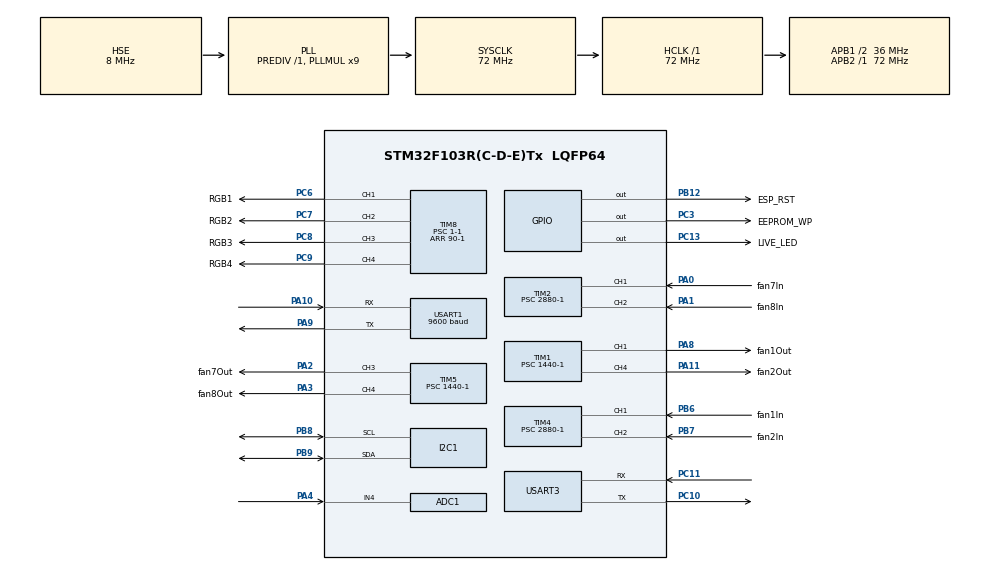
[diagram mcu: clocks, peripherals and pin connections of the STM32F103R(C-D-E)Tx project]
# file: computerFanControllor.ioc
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ADC1.Channel-1\#ChannelRegularConversion=ADC_CHANNEL_4
ADC1.ContinuousConvMode=ENABLE
ADC1.NbrOfConversionFlag=1
ADC1.Rank-1\#ChannelRegularConversion=1
ADC1.SamplingTime-1\#ChannelRegularConversion=ADC_SAMPLETIME_1CYCLE_5
ADC1.master=1
Dma.ADC1.0.Direction=DMA_PERIPH_TO_MEMORY
Dma.ADC1.0.Instance=DMA1_Channel1
Dma.ADC1.0.MemDataAlignment=DMA_MDATAALIGN_HALFWORD
Dma.ADC1.0.MemInc=DMA_MINC_ENABLE
Dma.ADC1.0.Mode=DMA_NORMAL
Dma.ADC1.0.PeriphDataAlignment=DMA_PDATAALIGN_HALFWORD
Dma.ADC1.0.PeriphInc=DMA_PINC_DISABLE
Dma.ADC1.0.Priority=DMA_PRIORITY_LOW
Dma.I2C1_RX.7.Direction=DMA_PERIPH_TO_MEMORY
Dma.I2C1_RX.7.Instance=DMA1_Channel7
Dma.I2C1_RX.7.MemDataAlignment=DMA_MDATAALIGN_BYTE
Dma.I2C1_RX.7.MemInc=DMA_MINC_ENABLE
Dma.I2C1_RX.7.Mode=DMA_NORMAL
Dma.I2C1_RX.7.PeriphDataAlignment=DMA_PDATAALIGN_BYTE
Dma.I2C1_RX.7.PeriphInc=DMA_PINC_DISABLE
Dma.I2C1_RX.7.Priority=DMA_PRIORITY_LOW
Dma.I2C1_TX.5.Direction=DMA_MEMORY_TO_PERIPH
Dma.I2C1_TX.5.Instance=DMA1_Channel6
Dma.I2C1_TX.5.MemDataAlignment=DMA_MDATAALIGN_BYTE
Dma.I2C1_TX.5.MemInc=DMA_MINC_ENABLE
Dma.I2C1_TX.5.Mode=DMA_NORMAL
Dma.I2C1_TX.5.PeriphDataAlignment=DMA_PDATAALIGN_BYTE
Dma.I2C1_TX.5.PeriphInc=DMA_PINC_DISABLE
Dma.I2C1_TX.5.Priority=DMA_PRIORITY_VERY_HIGH
Dma.Request0=ADC1
Dma.Request1=TIM8_CH4/TRIG/COM
Dma.Request2=TIM8_CH1
Dma.Request3=TIM8_CH2
Dma.Request4=TIM8_CH3/UP
Dma.Request5=I2C1_TX
Dma.Request6=USART3_TX
Dma.Request7=I2C1_RX
Dma.TIM8_CH1.2.Direction=DMA_PERIPH_TO_MEMORY
Dma.TIM8_CH1.2.Instance=DMA2_Channel3
Dma.TIM8_CH1.2.MemDataAlignment=DMA_MDATAALIGN_HALFWORD
Dma.TIM8_CH1.2.MemInc=DMA_MINC_ENABLE
Dma.TIM8_CH1.2.Mode=DMA_NORMAL
Dma.TIM8_CH1.2.PeriphDataAlignment=DMA_PDATAALIGN_HALFWORD
Dma.TIM8_CH1.2.PeriphInc=DMA_PINC_DISABLE
Dma.TIM8_CH1.2.Priority=DMA_PRIORITY_VERY_HIGH
Dma.TIM8_CH2.3.Direction=DMA_PERIPH_TO_MEMORY
Dma.TIM8_CH2.3.Instance=DMA2_Channel5
Dma.TIM8_CH2.3.MemDataAlignment=DMA_MDATAALIGN_HALFWORD
Dma.TIM8_CH2.3.MemInc=DMA_MINC_ENABLE
Dma.TIM8_CH2.3.Mode=DMA_NORMAL
Dma.TIM8_CH2.3.PeriphDataAlignment=DMA_PDATAALIGN_HALFWORD
Dma.TIM8_CH2.3.PeriphInc=DMA_PINC_DISABLE
Dma.TIM8_CH2.3.Priority=DMA_PRIORITY_VERY_HIGH
Dma.TIM8_CH3/UP.4.Direction=DMA_PERIPH_TO_MEMORY
Dma.TIM8_CH3/UP.4.Instance=DMA2_Channel1
Dma.TIM8_CH3/UP.4.MemDataAlignment=DMA_MDATAALIGN_HALFWORD
Dma.TIM8_CH3/UP.4.MemInc=DMA_MINC_ENABLE
Dma.TIM8_CH3/UP.4.Mode=DMA_NORMAL
Dma.TIM8_CH3/UP.4.PeriphDataAlignment=DMA_PDATAALIGN_HALFWORD
Dma.TIM8_CH3/UP.4.PeriphInc=DMA_PINC_DISABLE
Dma.TIM8_CH3/UP.4.Priority=DMA_PRIORITY_VERY_HIGH
Dma.TIM8_CH4/TRIG/COM.1.Direction=DMA_MEMORY_TO_PERIPH
Dma.TIM8_CH4/TRIG/COM.1.Instance=DMA2_Channel2
Dma.TIM8_CH4/TRIG/COM.1.MemDataAlignment=DMA_MDATAALIGN_HALFWORD
Dma.TIM8_CH4/TRIG/COM.1.MemInc=DMA_MINC_ENABLE
Dma.TIM8_CH4/TRIG/COM.1.Mode=DMA_NORMAL
Dma.TIM8_CH4/TRIG/COM.1.PeriphDataAlignment=DMA_PDATAALIGN_HALFWORD
Dma.TIM8_CH4/TRIG/COM.1.PeriphInc=DMA_PINC_DISABLE
Dma.TIM8_CH4/TRIG/COM.1.Priority=DMA_PRIORITY_VERY_HIGH
Dma.USART3_TX.6.Direction=DMA_MEMORY_TO_PERIPH
Dma.USART3_TX.6.Instance=DMA1_Channel2
Dma.USART3_TX.6.MemDataAlignment=DMA_MDATAALIGN_BYTE
Dma.USART3_TX.6.MemInc=DMA_MINC_ENABLE
Dma.USART3_TX.6.Mode=DMA_NORMAL
Dma.USART3_TX.6.PeriphDataAlignment=DMA_PDATAALIGN_BYTE
Dma.USART3_TX.6.PeriphInc=DMA_PINC_DISABLE
Dma.USART3_TX.6.Priority=DMA_PRIORITY_LOW
FREERTOS.BinarySemaphores01=uartSendBinarySem,Dynamic,NULL
FREERTOS.Tasks01=initTask,0,128,osInitTask,Default,NULL,Dynamic,NULL,NULL;fanControlTask,0,256,osFanControlTask,Default,NULL,Dynamic,NULL,NULL;rgbTask,0,256,osRgbTask,Default,NULL,Dynamic,NULL,NULL;shellTask,0,256,osShellTask,Default,NULL,Dynamic,NULL,NULL
FREERTOS.configTOTAL_HEAP_SIZE=4608
Mcu.Family=STM32F1
Mcu.Name=STM32F103R(C-D-E)Tx
Mcu.Package=LQFP64
NVIC.ADC1_2_IRQn=true\:5\:0\:false\:false\:true\:true\:true\:true\:true
NVIC.DMA1_Channel1_IRQn=true\:5\:0\:false\:false\:true\:true\:false\:true\:true
NVIC.DMA1_Channel2_IRQn=true\:5\:0\:false\:false\:true\:true\:false\:true\:true
NVIC.DMA1_Channel6_IRQn=true\:5\:0\:false\:false\:true\:true\:false\:true\:true
NVIC.DMA1_Channel7_IRQn=true\:5\:0\:false\:false\:true\:true\:false\:true\:true
NVIC.DMA2_Channel1_IRQn=true\:5\:0\:false\:false\:true\:true\:false\:true\:true
NVIC.DMA2_Channel2_IRQn=true\:5\:0\:false\:false\:true\:true\:false\:true\:true
NVIC.DMA2_Channel3_IRQn=true\:5\:0\:false\:false\:true\:true\:false\:true\:true
NVIC.DMA2_Channel4_5_IRQn=true\:5\:0\:false\:false\:true\:true\:false\:true\:true
NVIC.I2C1_EV_IRQn=true\:5\:0\:false\:false\:true\:true\:true\:true\:true
NVIC.PriorityGroup=NVIC_PRIORITYGROUP_4
NVIC.TIM1_BRK_IRQn=true\:5\:0\:false\:false\:true\:true\:true\:true\:true
NVIC.TIM1_CC_IRQn=true\:5\:0\:false\:false\:true\:true\:true\:true\:true
NVIC.TIM1_TRG_COM_IRQn=true\:5\:0\:false\:false\:true\:true\:true\:true\:true
NVIC.TIM1_UP_IRQn=true\:5\:0\:false\:false\:true\:true\:true\:true\:true
NVIC.TIM2_IRQn=true\:5\:0\:false\:false\:true\:true\:true\:true\:true
NVIC.TIM5_IRQn=true\:5\:0\:false\:false\:true\:true\:true\:true\:true
NVIC.TIM7_IRQn=true\:15\:0\:false\:false\:true\:false\:false\:true\:true
NVIC.TIM8_BRK_IRQn=true\:5\:0\:false\:false\:true\:true\:true\:true\:true
NVIC.TIM8_CC_IRQn=true\:5\:0\:false\:false\:true\:true\:true\:true\:true
NVIC.TIM8_TRG_COM_IRQn=true\:5\:0\:false\:false\:true\:true\:true\:true\:true
NVIC.TIM8_UP_IRQn=true\:5\:0\:false\:false\:true\:true\:true\:true\:true
NVIC.TimeBase=TIM7_IRQn
NVIC.TimeBaseIP=TIM7
NVIC.USART3_IRQn=true\:5\:0\:false\:false\:true\:true\:true\:true\:true
PA0-WKUP.GPIO_Label=fan7In
PA0-WKUP.Signal=S_TIM2_CH1_ETR
PA1.GPIO_Label=fan8In
PA1.Signal=S_TIM2_CH2
PA10.Mode=Asynchronous
PA10.Signal=USART1_RX
PA11.GPIO_Label=fan2Out
PA11.GPIO_Speed=GPIO_SPEED_FREQ_HIGH
PA11.Signal=S_TIM1_CH4
PA13.Mode=Serial_Wire
PA13.Signal=SYS_JTMS-SWDIO
PA14.Mode=Serial_Wire
PA14.Signal=SYS_JTCK-SWCLK
PA2.GPIO_Label=fan7Out
PA2.GPIO_Speed=GPIO_SPEED_FREQ_HIGH
PA2.Signal=S_TIM5_CH3
PA3.GPIO_Label=fan8Out
PA3.GPIO_Speed=GPIO_SPEED_FREQ_HIGH
PA3.Signal=S_TIM5_CH4
PA4.Signal=ADCx_IN4
PA8.GPIO_Label=fan1Out
PA8.GPIO_Speed=GPIO_SPEED_FREQ_HIGH
PA8.Signal=S_TIM1_CH1
PA9.Mode=Asynchronous
PA9.Signal=USART1_TX
PB12.GPIO_Label=ESP_RST
PB12.Signal=GPIO_Output
PB6.GPIO_Label=fan1In
PB6.Signal=S_TIM4_CH1
PB7.GPIO_Label=fan2In
PB7.Signal=S_TIM4_CH2
PB8.Mode=I2C
PB8.Signal=I2C1_SCL
PB9.Mode=I2C
PB9.Signal=I2C1_SDA
PC10.Mode=Asynchronous
PC10.Signal=USART3_TX
PC11.Mode=Asynchronous
PC11.Signal=USART3_RX
PC13-TAMPER-RTC.GPIO_Label=LIVE_LED
PC13-TAMPER-RTC.Signal=GPIO_Output
PC3.GPIO_Label=EEPROM_WP
PC3.Signal=GPIO_Output
PC6.GPIO_Label=RGB1
PC6.GPIO_Speed=GPIO_SPEED_FREQ_HIGH
PC6.Signal=S_TIM8_CH1
PC7.GPIO_Label=RGB2
PC7.GPIO_Speed=GPIO_SPEED_FREQ_HIGH
PC7.Signal=S_TIM8_CH2
PC8.GPIO_Label=RGB3
PC8.GPIO_Speed=GPIO_SPEED_FREQ_HIGH
PC8.Signal=S_TIM8_CH3
PC9.GPIO_Label=RGB4
PC9.GPIO_Speed=GPIO_SPEED_FREQ_HIGH
PC9.Signal=S_TIM8_CH4
PD0-OSC_IN.Mode=HSE-External-Oscillator
PD0-OSC_IN.Signal=RCC_OSC_IN
PD1-OSC_OUT.Mode=HSE-External-Oscillator
PD1-OSC_OUT.Signal=RCC_OSC_OUT
ProjectManager.HeapSize=0x200
ProjectManager.StackSize=0x400
ProjectManager.TargetToolchain=MDK-ARM V5.32
RCC.ADCPresc=RCC_ADCPCLK2_DIV6
RCC.AHBFreq_Value=72000000
RCC.APB1CLKDivider=RCC_HCLK_DIV2
RCC.APB1Freq_Value=36000000
RCC.APB1TimFreq_Value=72000000
RCC.APB2Freq_Value=72000000
RCC.APB2TimFreq_Value=72000000
RCC.HCLKFreq_Value=72000000
RCC.PLLMUL=RCC_PLL_MUL9
RCC.PLLSourceVirtual=RCC_PLLSOURCE_HSE
RCC.SYSCLKFreq_VALUE=72000000
RCC.SYSCLKSource=RCC_SYSCLKSOURCE_PLLCLK
RCC.USBFreq_Value=72000000
SH.ADCx_IN4.0=ADC1_IN4,IN4
SH.S_TIM1_CH1.0=TIM1_CH1,PWM Generation1 CH1
SH.S_TIM1_CH4.0=TIM1_CH4,PWM Generation4 CH4
SH.S_TIM2_CH1_ETR.0=TIM2_CH1,Input_Capture1_from_TI1
SH.S_TIM2_CH2.0=TIM2_CH2,Input_Capture2_from_TI2
SH.S_TIM4_CH1.0=TIM4_CH1,Input_Capture1_from_TI1
SH.S_TIM4_CH2.0=TIM4_CH2,Input_Capture2_from_TI2
SH.S_TIM5_CH3.0=TIM5_CH3,PWM Generation3 CH3
SH.S_TIM5_CH4.0=TIM5_CH4,PWM Generation4 CH4
SH.S_TIM8_CH1.0=TIM8_CH1,PWM Generation1 CH1
SH.S_TIM8_CH2.0=TIM8_CH2,PWM Generation2 CH2
SH.S_TIM8_CH3.0=TIM8_CH3,PWM Generation3 CH3
SH.S_TIM8_CH4.0=TIM8_CH4,PWM Generation4 CH4
TIM1.Channel-PWM\ Generation1\ CH1=TIM_CHANNEL_1
TIM1.Channel-PWM\ Generation4\ CH4=TIM_CHANNEL_4
TIM1.Prescaler=1440-1
TIM2.Channel-Input_Capture1_from_TI1=TIM_CHANNEL_1
TIM2.Channel-Input_Capture2_from_TI2=TIM_CHANNEL_2
TIM2.Prescaler=2880-1
TIM4.Channel-Input_Capture1_from_TI1=TIM_CHANNEL_1
TIM4.Channel-Input_Capture2_from_TI2=TIM_CHANNEL_2
TIM4.Prescaler=2880-1
TIM5.Channel-PWM\ Generation2\ CH2=TIM_CHANNEL_2
TIM5.Channel-PWM\ Generation3\ CH3=TIM_CHANNEL_3
TIM5.Channel-PWM\ Generation4\ CH4=TIM_CHANNEL_4
TIM5.Prescaler=1440-1
TIM8.Channel-PWM\ Generation1\ CH1=TIM_CHANNEL_1
TIM8.Channel-PWM\ Generation2\ CH2=TIM_CHANNEL_2
TIM8.Channel-PWM\ Generation3\ CH3=TIM_CHANNEL_3
TIM8.Channel-PWM\ Generation4\ CH4=TIM_CHANNEL_4
TIM8.Period=90-1
TIM8.Prescaler=1-1
USART1.BaudRate=9600
USART1.VirtualMode=VM_ASYNC
USART3.VirtualMode=VM_ASYNC
VP_FREERTOS_VS_CMSIS_V1.Mode=CMSIS_V1
VP_SYS_VS_tim7.Mode=TIM7
VP_TIM1_VS_ClockSourceINT.Mode=Internal
VP_TIM2_VS_ClockSourceINT.Mode=Internal
VP_TIM4_VS_ClockSourceINT.Mode=Internal
VP_TIM5_VS_ClockSourceINT.Mode=Internal
VP_TIM8_VS_ClockSourceINT.Mode=Internal
board=custom

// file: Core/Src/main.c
/* USER CODE BEGIN Header */
/**
  ******************************************************************************
  * @file           : main.c
  * @brief          : Main program body
  ******************************************************************************
  * @attention
  *
  * Copyright (c) 2023 STMicroelectronics.
  * All rights reserved.
  *
  * This software is licensed under terms that can be found in the LICENSE file
  * in the root directory of this software component.
  * If no LICENSE file comes with this software, it is provided AS-IS.
  *
  ******************************************************************************
  */
/* USER CODE END Header */
#include "main.h"
#include "cmsis_os.h"
#include "adc.h"
#include "dma.h"
#include "i2c.h"
#include "tim.h"
#include "usart.h"
#include "gpio.h"

void SystemClock_Config(void);
void MX_FREERTOS_Init(void);

int main(void)
{

  /* MCU Configuration--------------------------------------------------------*/

  /* Reset of all peripherals, Initializes the Flash interface and the Systick. */
  HAL_Init();

  /* Configure the system clock */
  SystemClock_Config();

  /* Initialize all configured peripherals */
  MX_GPIO_Init();
  MX_DMA_Init();
  MX_I2C1_Init();
  MX_TIM1_Init();
  MX_TIM2_Init();
  MX_TIM5_Init();
  MX_TIM8_Init();
  MX_USART1_UART_Init();
  MX_ADC1_Init();
  MX_USART3_UART_Init();
  MX_TIM4_Init();

  /* Call init function for freertos objects (in freertos.c) */
  MX_FREERTOS_Init();

  /* Start scheduler */
  osKernelStart();
  /* We should never get here as control is now taken by the scheduler */
  /* Infinite loop */
  while (1)
  {

  }
}

void SystemClock_Config(void)
{
  RCC_OscInitTypeDef RCC_OscInitStruct = {0};
  RCC_ClkInitTypeDef RCC_ClkInitStruct = {0};
  RCC_PeriphCLKInitTypeDef PeriphClkInit = {0};

  /** Initializes the RCC Oscillators according to the specified parameters
  * in the RCC_OscInitTypeDef structure.
  */
  RCC_OscInitStruct.OscillatorType = RCC_OSCILLATORTYPE_HSE;
  RCC_OscInitStruct.HSEState = RCC_HSE_ON;
  RCC_OscInitStruct.HSEPredivValue = RCC_HSE_PREDIV_DIV1;
  RCC_OscInitStruct.HSIState = RCC_HSI_ON;
  RCC_OscInitStruct.PLL.PLLState = RCC_PLL_ON;
  RCC_OscInitStruct.PLL.PLLSource = RCC_PLLSOURCE_HSE;
  RCC_OscInitStruct.PLL.PLLMUL = RCC_PLL_MUL9;
  if (HAL_RCC_OscConfig(&RCC_OscInitStruct) != HAL_OK)
  {
    Error_Handler();
  }

  /** Initializes the CPU, AHB and APB buses clocks
  */
  RCC_ClkInitStruct.ClockType = RCC_CLOCKTYPE_HCLK|RCC_CLOCKTYPE_SYSCLK
                              |RCC_CLOCKTYPE_PCLK1|RCC_CLOCKTYPE_PCLK2;
  RCC_ClkInitStruct.SYSCLKSource = RCC_SYSCLKSOURCE_PLLCLK;
  RCC_ClkInitStruct.AHBCLKDivider = RCC_SYSCLK_DIV1;
  RCC_ClkInitStruct.APB1CLKDivider = RCC_HCLK_DIV2;
  RCC_ClkInitStruct.APB2CLKDivider = RCC_HCLK_DIV1;

  if (HAL_RCC_ClockConfig(&RCC_ClkInitStruct, FLASH_LATENCY_2) != HAL_OK)
  {
    Error_Handler();
  }
  PeriphClkInit.PeriphClockSelection = RCC_PERIPHCLK_ADC;
  PeriphClkInit.AdcClockSelection = RCC_ADCPCLK2_DIV6;
  if (HAL_RCCEx_PeriphCLKConfig(&PeriphClkInit) != HAL_OK)
  {
    Error_Handler();
  }
}

/* USER CODE BEGIN 4 */
#if 0
/* USER CODE END 4 */

void HAL_TIM_PeriodElapsedCallback(TIM_HandleTypeDef *htim)
{
  if (htim->Instance == TIM7) {
    HAL_IncTick();
  }
}

void Error_Handler(void)
{
  /* USER CODE BEGIN Error_Handler_Debug */
	#endif
void Error_Handler(void)
{
  /* User can add his own implementation to report the HAL error return state */
  __disable_irq();
  while (1)
  {
  }
  /* USER CODE END Error_Handler_Debug */
}

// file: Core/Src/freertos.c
/* USER CODE BEGIN Header */
/**
  ******************************************************************************
  * File Name          : freertos.c
  * Description        : Code for freertos applications
  ******************************************************************************
  * @attention
  *
  * Copyright (c) 2023 STMicroelectronics.
  * All rights reserved.
  *
  * This software is licensed under terms that can be found in the LICENSE file
  * in the root directory of this software component.
  * If no LICENSE file comes with this software, it is provided AS-IS.
  *
  ******************************************************************************
  */
/* USER CODE END Header */

#include "FreeRTOS.h"
#include "task.h"
#include "main.h"
#include "cmsis_os.h"

/* USER CODE BEGIN Includes */
#include "ring_buffer.h"
#include "fan.h"
#include "tim.h"
#include "shell_port.h"
#include "shell.h"
/* USER CODE END Includes */

/* USER CODE BEGIN PM */
ring_buffer RB;
fanControl_t fanStruct[8];
/* USER CODE END PM */

osThreadId initTaskHandle;
osThreadId fanControlTaskHandle;
osThreadId rgbTaskHandle;
osThreadId shellTaskHandle;
osSemaphoreId uartSendBinarySemHandle;

/* USER CODE BEGIN FunctionPrototypes */
void fanStructInit();
/* USER CODE END FunctionPrototypes */

void osInitTask(void const * argument);
void osFanControlTask(void const * argument);
void osRgbTask(void const * argument);
void osShellTask(void const * argument);

void MX_FREERTOS_Init(void); /* (MISRA C 2004 rule 8.1) */

/* GetIdleTaskMemory prototype (linked to static allocation support) */
void vApplicationGetIdleTaskMemory( StaticTask_t **ppxIdleTaskTCBBuffer, StackType_t **ppxIdleTaskStackBuffer, uint32_t *pulIdleTaskStackSize );

/* USER CODE BEGIN GET_IDLE_TASK_MEMORY */
static StaticTask_t xIdleTaskTCBBuffer;
static StackType_t xIdleStack[configMINIMAL_STACK_SIZE];

void vApplicationGetIdleTaskMemory( StaticTask_t **ppxIdleTaskTCBBuffer, StackType_t **ppxIdleTaskStackBuffer, uint32_t *pulIdleTaskStackSize )
{
  *ppxIdleTaskTCBBuffer = &xIdleTaskTCBBuffer;
  *ppxIdleTaskStackBuffer = &xIdleStack[0];
  *pulIdleTaskStackSize = configMINIMAL_STACK_SIZE;
  /* place for user code */
}
/* USER CODE END GET_IDLE_TASK_MEMORY */

void MX_FREERTOS_Init(void) {

  /* Create the semaphores(s) */
  /* definition and creation of uartSendBinarySem */
  osSemaphoreDef(uartSendBinarySem);
  uartSendBinarySemHandle = osSemaphoreCreate(osSemaphore(uartSendBinarySem), 1);

  /* Create the thread(s) */
  /* definition and creation of initTask */
  osThreadDef(initTask, osInitTask, osPriorityNormal, 0, 128);
  initTaskHandle = osThreadCreate(osThread(initTask), NULL);

  /* definition and creation of fanControlTask */
  osThreadDef(fanControlTask, osFanControlTask, osPriorityNormal, 0, 256);
  fanControlTaskHandle = osThreadCreate(osThread(fanControlTask), NULL);

  /* definition and creation of rgbTask */
  osThreadDef(rgbTask, osRgbTask, osPriorityNormal, 0, 256);
  rgbTaskHandle = osThreadCreate(osThread(rgbTask), NULL);

  /* definition and creation of shellTask */
  osThreadDef(shellTask, osShellTask, osPriorityNormal, 0, 256);
  shellTaskHandle = osThreadCreate(osThread(shellTask), NULL);

}

void osInitTask(void const * argument)
{
  /* USER CODE BEGIN osInitTask */
  /* Infinite loop */
  for(;;)
  {
		fanStructInit();
		HAL_GPIO_WritePin(ESP_RST_GPIO_Port,ESP_RST_Pin,GPIO_PIN_RESET);
		osDelay(500);
		HAL_GPIO_WritePin(ESP_RST_GPIO_Port,ESP_RST_Pin,GPIO_PIN_SET);
    vTaskDelete(initTaskHandle);
  }
  /* USER CODE END osInitTask */
}

void osFanControlTask(void const * argument)
{
  /* USER CODE BEGIN osFanControlTask */
	uint8_t xTest=0xaa;
  /* Infinite loop */
  for(;;)
  {
		fanControlTask();

    osDelay(200);
  }
  /* USER CODE END osFanControlTask */
}

void osRgbTask(void const * argument)
{
  /* USER CODE BEGIN osRgbTask */
  /* Infinite loop */
  for(;;)
  {
		HAL_GPIO_TogglePin(GPIOC,GPIO_PIN_13);
    osDelay(1000);
  }
  /* USER CODE END osRgbTask */
}

void osShellTask(void const * argument)
{
  /* USER CODE BEGIN osShellTask */
  /* Infinite loop */
	userShellInit();
  for(;;)
  {
		shellTask(&shell);
		osDelay(30);
  }
  /* USER CODE END osShellTask */
}

/* USER CODE BEGIN Application */
void fanStructInit()
{
	fanControlInit_t fanStructInit[FAN_NUM];
	fanStructInit[0].ctrlHtim=&htim1;
	fanStructInit[0].ctrlTimChannel=TIM_CHANNEL_1;
	fanStructInit[0].fanPulseNum=2;
	fanStructInit[0].fanSpeedMax=1500;
	fanStructInit[0].fanSpeedMin=40;
	fanStructInit[0].fbHtim=&htim4;
	fanStructInit[0].fbTimChannel=TIM_CHANNEL_1;
  fanStructInit[0].controlMode=1;

	fanStructInit[1].ctrlHtim=&htim1;
	fanStructInit[1].ctrlTimChannel=TIM_CHANNEL_4;
	fanStructInit[1].fanPulseNum=2;
	fanStructInit[1].fanSpeedMax=1500;
	fanStructInit[1].fanSpeedMin=40;
	fanStructInit[1].fbHtim=&htim4;
	fanStructInit[1].fbTimChannel=TIM_CHANNEL_2;
	fanStructInit[1].controlMode=1;

	fanStructInit[2].ctrlHtim=&htim5;
	fanStructInit[2].ctrlTimChannel=TIM_CHANNEL_3;
	fanStructInit[2].fanPulseNum=2;
	fanStructInit[2].fanSpeedMax=1500;
	fanStructInit[2].fanSpeedMin=40;
	fanStructInit[2].fbHtim=&htim2;
	fanStructInit[2].fbTimChannel=TIM_CHANNEL_1;
  fanStructInit[2].controlMode=1;

	fanStructInit[3].ctrlHtim=&htim5;
	fanStructInit[3].ctrlTimChannel=TIM_CHANNEL_4;
	fanStructInit[3].fanPulseNum=2;
	fanStructInit[3].fanSpeedMax=1500;
	fanStructInit[3].fanSpeedMin=40;
	fanStructInit[3].fbHtim=&htim2;
	fanStructInit[3].fbTimChannel=TIM_CHANNEL_2;
  fanStructInit[3].controlMode=1;

	for(int i=0;i<FAN_NUM;i++)
	{
		uint8_t result=fanInit(fanStruct+i,fanStructInit+i);
	}
	HAL_TIM_Base_Start(&htim5);
	HAL_TIM_Base_Start(&htim2);
	HAL_TIM_IC_Start_IT(&htim2,TIM_CHANNEL_2);
	HAL_TIM_PWM_Start(&htim5,TIM_CHANNEL_4);
}
/* USER CODE END Application */
